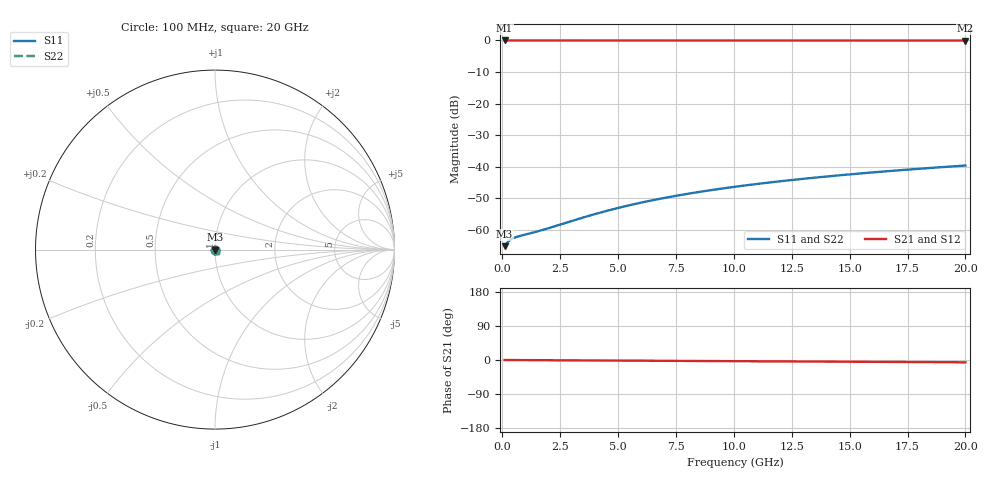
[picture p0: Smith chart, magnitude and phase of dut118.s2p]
! Touchstone file exported from HFSS 2026.1.0
!  File:  C:/ffzhzh/LocalFiles/Ansys_Project_Files/temp_train_TMRDL_118_1782982548_40604.aedt
!  Generated:  04:56:57 PM Jul  2, 2026
!  Design:  TMRDL
!  Project:  temp_train_TMRDL_118_1782982548_40604
! Variables:
!  h_bsmrdl = 2um
!  h_ox = 20um
!  h_rdl = 5um
!  h_sub = 80um
!  h_tmrdl = 5.64um
!  h_tsv = 80um
!  h_via = 3um
!  l_bsmrdl = 300um
!  l_sub = 502.49um
!  l_tmrdl = 102.49um
!  m_sub = 200um
!  pitch = 19.25um
!  r_tsv = 6um
!  s_tmrdl = 10um
!  w_bsmrdl = 18um
!  w_sub = 500um
!  w_tmrdl = 15.57um
!  x_tsv_center1 = 110.275um
!  x_tsv_center2 = 428.275um
!  x_tsv_center3 = 546.335um
!  x_tsv_center4 = 864.335um
!  x_tsv_center5 = 982.395um
!  x_tsv_center6 = 1300.395um
# GHz S MA R 50.000000
! Terminal data exported
! Port[1] = TM_RDL1_1_T1
! Port[2] = TM_RDL1_1_T2
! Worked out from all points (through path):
!   200 points, 100 MHz to 20 GHz, reference 50 ohm
!   highest |S21| = 0.00 dB at 100 MHz (marker M1); lowest = 0.0 dB at 20 GHz (marker M2)
!   lowest |S11| = -65.1 dB at 100 MHz (marker M3), VSWR 1.00, Z = 50.1 + j0.00737 ohm
!   |S11| at or under -10 dB: start of sweep to end of sweep
!   |S22| runs from -65.1 to -39.6 dB; largest |S21 - S12| = 1.1e-14
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0.1  0.0005556 7.6  0.9994 -0.0  0.9994 -0.0  0.0005556 7.6
! Gamma 0 0 0 0
! Port Impedance 50 0 50 0
0.2  0.000623 9.7  0.9994 -0.1  0.9994 -0.1  0.000623 9.7
0.3  0.0006805 8.5  0.9993 -0.1  0.9993 -0.1  0.0006805 8.5
0.4  0.0007217 6.3  0.9993 -0.1  0.9993 -0.1  0.0007217 6.3
0.5  0.0007517 4.0  0.9993 -0.2  0.9993 -0.2  0.0007517 4.0
0.7  0.000795 -0.1  0.9992 -0.2  0.9992 -0.2  0.000795 -0.1
1.4  0.0009256 -10.6  0.9991 -0.5  0.9991 -0.5  0.0009256 -10.6
1.8  0.001018 -15.3  0.999 -0.6  0.999 -0.6  0.001018 -15.3
3.5  0.001581 -30.7  0.9986 -1.1  0.9986 -1.1  0.001581 -30.7
4.3  0.001917 -36.2  0.9984 -1.4  0.9984 -1.4  0.001917 -36.2
5.1  0.002282 -41.0  0.9982 -1.6  0.9982 -1.6  0.002283 -41.0
5.9  0.002668 -45.1  0.9981 -1.8  0.9981 -1.8  0.002669 -45.1
6.8  0.00312 -49.0  0.9979 -2.1  0.9979 -2.1  0.00312 -49.0
7.6  0.003533 -52.1  0.9977 -2.4  0.9977 -2.4  0.003533 -52.1
8.4  0.003953 -54.7  0.9976 -2.6  0.9976 -2.6  0.003954 -54.7
9.2  0.00438 -57.1  0.9974 -2.8  0.9974 -2.8  0.004381 -57.1
10.1  0.004867 -59.4  0.9973 -3.1  0.9973 -3.1  0.004867 -59.4
11.7  0.005745 -62.9  0.9971 -3.6  0.9971 -3.6  0.005745 -62.9
13.4  0.006693 -65.9  0.9968 -4.1  0.9968 -4.1  0.006694 -65.9
15  0.007599 -68.3  0.9966 -4.6  0.9966 -4.6  0.007599 -68.3
16.7  0.008572 -70.5  0.9964 -5.1  0.9964 -5.1  0.008573 -70.5
20  0.01049 -74.0  0.996 -6.1  0.996 -6.1  0.01049 -74.0
